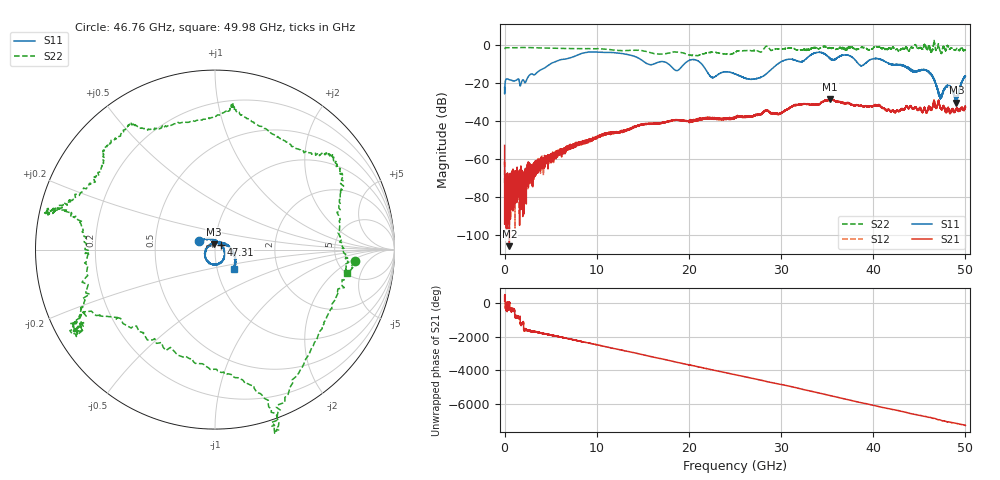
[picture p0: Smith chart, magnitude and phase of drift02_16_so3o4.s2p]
!Created with skrf (http://scikit-rf.org).
# Hz S RI R 50.0
!freq ReS11 ImS11 ReS21 ImS21 ReS12 ImS12 ReS22 ImS22
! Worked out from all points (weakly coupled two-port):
!   10001 points, 300 kHz to 50 GHz, reference 50 ohm
!   highest |S21| = -28.52 dB at 35.34 GHz (marker M1); lowest = -106.2 dB at 515.3 MHz (marker M2)
!   lowest |S11| = -30.5 dB at 49.02 GHz (marker M3), VSWR 1.06, Z = 49.1 + j2.83 ohm
!   |S11| at or under -10 dB: start of sweep to 4.957 GHz; 21.38 GHz to 29.63 GHz (8.254 GHz wide, 32.4 % of centre); 41.86 GHz to end of sweep (the widest 3 of 9)
!   |S22| runs from -5.7 to 2.4 dB; largest |S21 - S12| = 0.0039
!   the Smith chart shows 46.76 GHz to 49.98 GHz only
!   S11 on the Smith chart (normalised r, x): 46.76 GHz: 0.83, +0.08; 47.31 GHz: 1.06, +0.05; 49.98 GHz: 1.20, -0.27
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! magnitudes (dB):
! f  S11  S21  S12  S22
! 300 kHz  -22.5  -53.0  -61.5  -2.1
! 255.3 MHz  -17.9  -84.5  -76.3  -1.4
! 515.3 MHz  -18.3  -106.2  -77.8  -1.5
! 1.87 GHz  -19.1  -71.5  -69.8  -1.3
! 3.9 GHz  -13.2  -61.4  -63.2  -1.5
! 8.335 GHz  -4.5  -52.1  -51.8  -1.9
! 16.67 GHz  -9.1  -41.3  -41.2  -4.7
! 18.7 GHz  -13.5  -39.5  -39.5  -3.7
! 20.6 GHz  -7.7  -40.0  -40.1  -5.7
! 22.49 GHz  -17.0  -38.6  -38.9  -3.8
! 25 GHz  -15.3  -38.2  -38.3  -3.9
! 27.47 GHz  -17.6  -36.4  -36.6  -3.2
! 33.34 GHz  -4.9  -31.5  -31.3  -1.6
! 35.34 GHz  -7.1  -28.5  -28.8  -1.5
! 41.67 GHz  -9.7  -34.2  -34.3  -1.9
! 45.78 GHz  -13.5  -35.5  -35.5  -1.9
! 46.76 GHz  -20.1  -32.9  -32.8  -2.1
! 47.31 GHz  -27.9  -33.6  -33.4  -3.8
! 48.14 GHz  -21.5  -33.1  -33.4  -0.8
! 49.02 GHz  -30.5  -34.0  -33.8  -2.2
! 49.98 GHz  -16.5  -33.0  -33.1  -2.5
! 50 GHz  -16.3  -33.0  -33.3  -2.7
